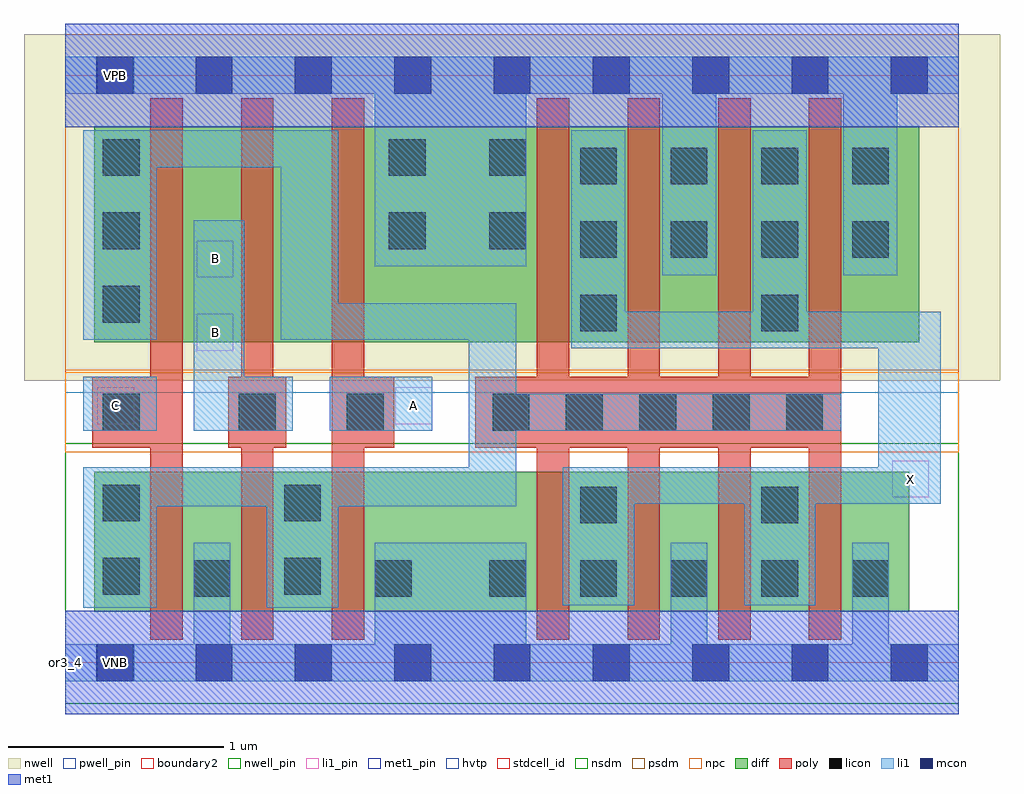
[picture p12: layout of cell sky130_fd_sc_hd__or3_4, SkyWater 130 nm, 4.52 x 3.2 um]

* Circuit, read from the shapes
.subckt sky130_fd_sc_hd__or3_4 A B C VGND VNB VPB VPWR X
XM1 VGND C n1 VNB sky130_fd_pr__nfet_01v8 w=0.65 l=0.15
XM2 n1 B VGND VNB sky130_fd_pr__nfet_01v8 w=0.65 l=0.15
XM3 VGND A n1 VNB sky130_fd_pr__nfet_01v8 w=0.65 l=0.15
XM4 X n1 VGND VNB sky130_fd_pr__nfet_01v8 w=0.65 l=0.15 m=4
XM5 n2 C n1 VPB sky130_fd_pr__pfet_01v8_hvt w=1 l=0.15
XM6 n3 B n2 VPB sky130_fd_pr__pfet_01v8_hvt w=1 l=0.15
XM7 VPWR A n3 VPB sky130_fd_pr__pfet_01v8_hvt w=1 l=0.15
XM8 X n1 VPWR VPB sky130_fd_pr__pfet_01v8_hvt w=1 l=0.15 m=4
.ends

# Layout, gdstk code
import gdstk
lib = gdstk.Library(unit=1e-6, precision=1e-09)
def R(c, l, rs):  # rectangles x0, y0, x1, y1
    for r in rs: c.add(gdstk.rectangle(r[:2], r[2:], *l))
def A(c, l, x, y, w, h, nx, ny, dx, dy):  # array of equal rectangles
    R(c, l, [(x+i*dx, y+j*dy, x+i*dx+w, y+j*dy+h) for i in range(nx) for j in range(ny)])
def P(c, l, *ps):  # polygons
    for p in ps: c.add(gdstk.Polygon(p, *l))
nwell_pin = (64, 16)
nwell = (64, 20)
diff = (65, 20)
poly = (66, 20)
licon = (66, 44)
li1_pin = (67, 16)
li1 = (67, 20)
mcon = (67, 44)
met1_pin = (68, 16)
met1 = (68, 20)
hvtp = (78, 44)
stdcell_id = (81, 4)
nsdm = (93, 44)
psdm = (94, 20)
npc = (95, 20)
pwell_pin = (122, 16)
boundary2 = (236, 0)

sky130_fd_sc_hd__or3_4 = lib.new_cell('sky130_fd_sc_hd__or3_4')
R(sky130_fd_sc_hd__or3_4, nwell_pin, [(0.15,2.635,0.32,2.805)])
R(sky130_fd_sc_hd__or3_4, nwell, [(-0.19,1.305,4.33,2.91)])
R(sky130_fd_sc_hd__or3_4, diff, [(0.135,0.235,3.91,0.885), (0.135,1.485,3.955,2.485)])
P(sky130_fd_sc_hd__or3_4, poly, [(0.545,2.615),(0.395,2.615),(0.395,1.325),(0.125,1.325),(0.125,0.995),(0.395,0.995),(0.395,0.105),(0.545,0.105)],
  [(1.025,1.325),(0.965,1.325),(0.965,2.615),(0.815,2.615),(0.815,1.325),(0.755,1.325),(0.755,0.995),(0.815,0.995),(0.815,0.105),(0.965,0.105),(0.965,0.995),(1.025,0.995)],
  [(1.525,1.325),(1.385,1.325),(1.385,2.615),(1.235,2.615),(1.235,0.105),(1.385,0.105),(1.385,0.995),(1.525,0.995)],
  [(3.595,2.615),(3.445,2.615),(3.445,1.325),(3.175,1.325),(3.175,2.615),(3.025,2.615),(3.025,1.325),(2.755,1.325),(2.755,2.615),(2.605,2.615),(2.605,1.325),(2.335,1.325),(2.335,2.615),(2.185,2.615),(2.185,1.325),(1.9,1.325),(1.9,0.995),(2.185,0.995),(2.185,0.105),(2.335,0.105),(2.335,0.995),(2.605,0.995),(2.605,0.105),(2.755,0.105),(2.755,0.995),(3.025,0.995),(3.025,0.105),(3.175,0.105),(3.175,0.995),(3.445,0.995),(3.445,0.105),(3.595,0.105)])
A(sky130_fd_sc_hd__or3_4, licon, 1.965, 0.305, 0.17, 0.17, 5, 1, 0.42, 0)
A(sky130_fd_sc_hd__or3_4, licon, 1.98, 1.075, 0.17, 0.17, 5, 1, 0.34, 0)
A(sky130_fd_sc_hd__or3_4, licon, 0.175, 1.575, 0.17, 0.17, 1, 3, 0, 0.34)
A(sky130_fd_sc_hd__or3_4, licon, 2.385, 1.875, 0.17, 0.17, 4, 2, 0.42, 0.34)
R(sky130_fd_sc_hd__or3_4, licon, [(0.595,0.305,0.765,0.475), (1.435,0.305,1.605,0.475), (0.175,0.315,0.345,0.485), (1.015,0.315,1.185,0.485), (2.385,0.645,2.555,0.815), (3.225,0.645,3.395,0.815), (0.175,0.655,0.345,0.825), (1.015,0.655,1.185,0.825), (0.175,1.075,0.345,1.245), (0.805,1.075,0.975,1.245), (1.305,1.075,1.475,1.245), (2.385,1.535,2.555,1.705), (3.225,1.535,3.395,1.705), (1.5,1.915,1.67,2.085), (1.965,1.915,2.135,2.085), (1.5,2.255,1.67,2.425), (1.965,2.255,2.135,2.425)])
R(sky130_fd_sc_hd__or3_4, li1_pin, [(3.83,0.765,4,0.935), (0.15,1.105,0.32,1.275), (1.53,1.105,1.7,1.275), (0.61,1.445,0.78,1.615), (0.61,1.785,0.78,1.955)])
R(sky130_fd_sc_hd__or3_4, li1, [(0.085,1.075,0.425,1.325), (1.225,1.075,1.7,1.325)])
P(sky130_fd_sc_hd__or3_4, li1, [(1.055,1.325),(0.83,1.325),(0.83,2.05),(0.595,2.05),(0.595,1.075),(1.055,1.075)],
  [(3.595,1.245),(2.09,1.245),(2.09,1.665),(1.265,1.665),(1.265,2.465),(0.085,2.465),(0.085,1.495),(0.425,1.495),(0.425,2.295),(1,2.295),(1,1.495),(1.87,1.495),(1.87,0.905),(0.085,0.905),(0.085,0.255),(0.425,0.255),(0.425,0.725),(0.935,0.725),(0.935,0.255),(1.265,0.255),(1.265,0.725),(2.09,0.725),(2.09,1.075),(3.595,1.075)],
  [(4.14,0.085),(3.815,0.085),(3.815,0.555),(3.645,0.555),(3.645,0.085),(2.975,0.085),(2.975,0.555),(2.805,0.555),(2.805,0.085),(2.135,0.085),(2.135,0.555),(1.435,0.555),(1.435,0.085),(0.765,0.085),(0.765,0.555),(0.595,0.555),(0.595,0.085),(0,0.085),(0,-0.085),(4.14,-0.085)],
  [(4.14,2.805),(0,2.805),(0,2.635),(1.435,2.635),(1.435,1.835),(2.135,1.835),(2.135,2.635),(2.765,2.635),(2.765,1.795),(3.015,1.795),(3.015,2.635),(3.605,2.635),(3.605,1.795),(3.855,1.795),(3.855,2.635),(4.14,2.635)],
  [(4.055,1.625),(3.435,1.625),(3.435,2.465),(3.185,2.465),(3.185,1.625),(2.595,1.625),(2.595,2.465),(2.345,2.465),(2.345,1.455),(3.765,1.455),(3.765,0.905),(2.305,0.905),(2.305,0.265),(2.635,0.265),(2.635,0.735),(3.145,0.735),(3.145,0.265),(3.475,0.265),(3.475,0.735),(4.055,0.735)])
A(sky130_fd_sc_hd__or3_4, mcon, 0.145, -0.085, 0.17, 0.17, 9, 2, 0.46, 2.72)
R(sky130_fd_sc_hd__or3_4, met1_pin, [(0.15,-0.085,0.32,0.085), (0.15,2.635,0.32,2.805)])
R(sky130_fd_sc_hd__or3_4, hvtp, [(0,1.25,4.14,2.72)])
R(sky130_fd_sc_hd__or3_4, stdcell_id, [(0,0,4.14,2.72)])
R(sky130_fd_sc_hd__or3_4, nsdm, [(0,-0.19,4.14,1.015)])
R(sky130_fd_sc_hd__or3_4, psdm, [(0,1.355,4.14,2.91)])
R(sky130_fd_sc_hd__or3_4, npc, [(0,0.975,4.14,1.345)])
R(sky130_fd_sc_hd__or3_4, pwell_pin, [(0.15,-0.085,0.32,0.085)])
R(sky130_fd_sc_hd__or3_4, boundary2, [(0,0,4.14,2.72)])
sky130_fd_sc_hd__or3_4.add(gdstk.FlexPath([(0,2.72),(4.14,2.72)], 0.48, ends="flush", simple_path=True, layer=68, datatype=20))  # met1
sky130_fd_sc_hd__or3_4.add(gdstk.FlexPath([(0,0),(4.14,0)], 0.48, ends="flush", simple_path=True, layer=68, datatype=20))  # met1
sky130_fd_sc_hd__or3_4.add(gdstk.Label('A', (1.615,1.19), layer=67, texttype=5))
sky130_fd_sc_hd__or3_4.add(gdstk.Label('X', (3.915,0.85), layer=67, texttype=5))
sky130_fd_sc_hd__or3_4.add(gdstk.Label('B', (0.695,1.87), layer=67, texttype=5))
sky130_fd_sc_hd__or3_4.add(gdstk.Label('C', (0.235,1.19), layer=67, texttype=5))
sky130_fd_sc_hd__or3_4.add(gdstk.Label('B', (0.695,1.53), layer=67, texttype=5))
sky130_fd_sc_hd__or3_4.add(gdstk.Label('VPB', (0.235,2.72), layer=64, texttype=5))
sky130_fd_sc_hd__or3_4.add(gdstk.Label('VNB', (0.235,0), layer=64, texttype=59))
sky130_fd_sc_hd__or3_4.add(gdstk.Label('VPWR', (0.23,2.72), layer=68, texttype=5))
sky130_fd_sc_hd__or3_4.add(gdstk.Label('VGND', (0.23,0), layer=68, texttype=5))
sky130_fd_sc_hd__or3_4.add(gdstk.Label('or3_4', (0,0), layer=83, texttype=44))

lib.write_gds('sky130_fd_sc_hd__or3_4.gds')
